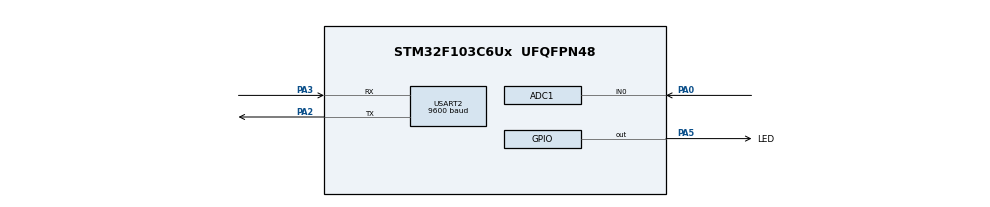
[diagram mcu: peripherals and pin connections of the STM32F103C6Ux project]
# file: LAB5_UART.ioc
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ADC1.Channel-0\#ChannelRegularConversion=ADC_CHANNEL_0
ADC1.ContinuousConvMode=ENABLE
ADC1.NbrOfConversionFlag=1
ADC1.Rank-0\#ChannelRegularConversion=1
ADC1.SamplingTime-0\#ChannelRegularConversion=ADC_SAMPLETIME_1CYCLE_5
ADC1.master=1
Mcu.Family=STM32F1
Mcu.Name=STM32F103C6Ux
Mcu.Package=UFQFPN48
NVIC.PriorityGroup=NVIC_PRIORITYGROUP_4
NVIC.TIM2_IRQn=true\:0\:0\:false\:false\:true\:true\:true
NVIC.USART2_IRQn=true\:0\:0\:false\:false\:true\:true\:true
PA0-WKUP.Signal=ADCx_IN0
PA2.Mode=Asynchronous
PA2.Signal=USART2_TX
PA3.Mode=Asynchronous
PA3.Signal=USART2_RX
PA5.GPIO_Label=LED
PA5.Signal=GPIO_Output
ProjectManager.HeapSize=0x200
ProjectManager.StackSize=0x400
ProjectManager.TargetToolchain=STM32CubeIDE
RCC.APB1Freq_Value=8000000
RCC.APB2Freq_Value=8000000
SH.ADCx_IN0.0=ADC1_IN0,IN0
TIM2.Period=9
TIM2.Prescaler=7999
USART2.BaudRate=9600
USART2.VirtualMode=VM_ASYNC
VP_SYS_VS_ND.Mode=No_Debug
VP_TIM2_VS_ClockSourceINT.Mode=Internal
board=custom

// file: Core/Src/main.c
/* USER CODE BEGIN Header */
/**
  ******************************************************************************
  * @file           : main.c
  * @brief          : Main program body
  ******************************************************************************
  * @attention
  *
  * <h2><center>&copy; Copyright (c) 2023 STMicroelectronics.
  * All rights reserved.</center></h2>
  *
  * This software component is licensed by ST under BSD 3-Clause license,
  * the "License"; You may not use this file except in compliance with the
  * License. You may obtain a copy of the License at:
  *                        opensource.org/licenses/BSD-3-Clause
  *
  ******************************************************************************
  */
/* USER CODE END Header */
#include "main.h"

ADC_HandleTypeDef hadc1;

TIM_HandleTypeDef htim2;

UART_HandleTypeDef huart2;

void SystemClock_Config(void);
static void MX_GPIO_Init(void);
static void MX_ADC1_Init(void);
static void MX_TIM2_Init(void);
static void MX_USART2_UART_Init(void);

int main(void)
{

  /* MCU Configuration--------------------------------------------------------*/

  /* Reset of all peripherals, Initializes the Flash interface and the Systick. */
  HAL_Init();

  /* Configure the system clock */
  SystemClock_Config();

  /* Initialize all configured peripherals */
  MX_GPIO_Init();
  MX_ADC1_Init();
  MX_TIM2_Init();
  MX_USART2_UART_Init();
  /* USER CODE BEGIN 2 */
  HAL_TIM_Base_Start_IT(&htim2);
  HAL_ADC_Start(&hadc1);
  HAL_UART_Receive_IT(&huart2, &temp, 1);

  /* USER CODE END 2 */

  /* Infinite loop */
  /* USER CODE BEGIN WHILE */
  while (1)
  {
	led_blinky_fsm();
	if(buffer_flag == 1 || timer3_flag == 1) {
		if(buffer_flag == 1) {
			buffer_flag = 0;
		}
		command_parser_fsm();
	}
	uart_communication_fsm();
    /* USER CODE END WHILE */

  }
}

void SystemClock_Config(void)
{
  RCC_OscInitTypeDef RCC_OscInitStruct = {0};
  RCC_ClkInitTypeDef RCC_ClkInitStruct = {0};
  RCC_PeriphCLKInitTypeDef PeriphClkInit = {0};

  /** Initializes the RCC Oscillators according to the specified parameters
  * in the RCC_OscInitTypeDef structure.
  */
  RCC_OscInitStruct.OscillatorType = RCC_OSCILLATORTYPE_HSI;
  RCC_OscInitStruct.HSIState = RCC_HSI_ON;
  RCC_OscInitStruct.HSICalibrationValue = RCC_HSICALIBRATION_DEFAULT;
  RCC_OscInitStruct.PLL.PLLState = RCC_PLL_NONE;
  if (HAL_RCC_OscConfig(&RCC_OscInitStruct) != HAL_OK)
  {
    Error_Handler();
  }
  /** Initializes the CPU, AHB and APB buses clocks
  */
  RCC_ClkInitStruct.ClockType = RCC_CLOCKTYPE_HCLK|RCC_CLOCKTYPE_SYSCLK
                              |RCC_CLOCKTYPE_PCLK1|RCC_CLOCKTYPE_PCLK2;
  RCC_ClkInitStruct.SYSCLKSource = RCC_SYSCLKSOURCE_HSI;
  RCC_ClkInitStruct.AHBCLKDivider = RCC_SYSCLK_DIV1;
  RCC_ClkInitStruct.APB1CLKDivider = RCC_HCLK_DIV1;
  RCC_ClkInitStruct.APB2CLKDivider = RCC_HCLK_DIV1;

  if (HAL_RCC_ClockConfig(&RCC_ClkInitStruct, FLASH_LATENCY_0) != HAL_OK)
  {
    Error_Handler();
  }
  PeriphClkInit.PeriphClockSelection = RCC_PERIPHCLK_ADC;
  PeriphClkInit.AdcClockSelection = RCC_ADCPCLK2_DIV2;
  if (HAL_RCCEx_PeriphCLKConfig(&PeriphClkInit) != HAL_OK)
  {
    Error_Handler();
  }
}

static void MX_ADC1_Init(void)
{

  ADC_ChannelConfTypeDef sConfig = {0};

  /** Common config
  */
  hadc1.Instance = ADC1;
  hadc1.Init.ScanConvMode = ADC_SCAN_DISABLE;
  hadc1.Init.ContinuousConvMode = ENABLE;
  hadc1.Init.DiscontinuousConvMode = DISABLE;
  hadc1.Init.ExternalTrigConv = ADC_SOFTWARE_START;
  hadc1.Init.DataAlign = ADC_DATAALIGN_RIGHT;
  hadc1.Init.NbrOfConversion = 1;
  if (HAL_ADC_Init(&hadc1) != HAL_OK)
  {
    Error_Handler();
  }
  /** Configure Regular Channel
  */
  sConfig.Channel = ADC_CHANNEL_0;
  sConfig.Rank = ADC_REGULAR_RANK_1;
  sConfig.SamplingTime = ADC_SAMPLETIME_1CYCLE_5;
  if (HAL_ADC_ConfigChannel(&hadc1, &sConfig) != HAL_OK)
  {
    Error_Handler();
  }

}

static void MX_TIM2_Init(void)
{

  TIM_ClockConfigTypeDef sClockSourceConfig = {0};
  TIM_MasterConfigTypeDef sMasterConfig = {0};

  htim2.Instance = TIM2;
  htim2.Init.Prescaler = 7999;
  htim2.Init.CounterMode = TIM_COUNTERMODE_UP;
  htim2.Init.Period = 9;
  htim2.Init.ClockDivision = TIM_CLOCKDIVISION_DIV1;
  htim2.Init.AutoReloadPreload = TIM_AUTORELOAD_PRELOAD_DISABLE;
  if (HAL_TIM_Base_Init(&htim2) != HAL_OK)
  {
    Error_Handler();
  }
  sClockSourceConfig.ClockSource = TIM_CLOCKSOURCE_INTERNAL;
  if (HAL_TIM_ConfigClockSource(&htim2, &sClockSourceConfig) != HAL_OK)
  {
    Error_Handler();
  }
  sMasterConfig.MasterOutputTrigger = TIM_TRGO_RESET;
  sMasterConfig.MasterSlaveMode = TIM_MASTERSLAVEMODE_DISABLE;
  if (HAL_TIMEx_MasterConfigSynchronization(&htim2, &sMasterConfig) != HAL_OK)
  {
    Error_Handler();
  }

}

static void MX_USART2_UART_Init(void)
{

  huart2.Instance = USART2;
  huart2.Init.BaudRate = 9600;
  huart2.Init.WordLength = UART_WORDLENGTH_8B;
  huart2.Init.StopBits = UART_STOPBITS_1;
  huart2.Init.Parity = UART_PARITY_NONE;
  huart2.Init.Mode = UART_MODE_TX_RX;
  huart2.Init.HwFlowCtl = UART_HWCONTROL_NONE;
  huart2.Init.OverSampling = UART_OVERSAMPLING_16;
  if (HAL_UART_Init(&huart2) != HAL_OK)
  {
    Error_Handler();
  }

}

static void MX_GPIO_Init(void)
{
  GPIO_InitTypeDef GPIO_InitStruct = {0};

  /* GPIO Ports Clock Enable */
  __HAL_RCC_GPIOA_CLK_ENABLE();

  /*Configure GPIO pin Output Level */
  HAL_GPIO_WritePin(LED_GPIO_Port, LED_Pin, GPIO_PIN_RESET);

  /*Configure GPIO pin : LED_Pin */
  GPIO_InitStruct.Pin = LED_Pin;
  GPIO_InitStruct.Mode = GPIO_MODE_OUTPUT_PP;
  GPIO_InitStruct.Pull = GPIO_NOPULL;
  GPIO_InitStruct.Speed = GPIO_SPEED_FREQ_LOW;
  HAL_GPIO_Init(LED_GPIO_Port, &GPIO_InitStruct);

}

/* USER CODE BEGIN 4 */
void HAL_TIM_PeriodElapsedCallback(TIM_HandleTypeDef* htim) {
    timerRun();
}

void HAL_UART_RxCpltCallback(UART_HandleTypeDef * huart) {
	if(huart->Instance == USART2) {
		updateBuffer(temp);
		buffer_flag = 1;
		HAL_UART_Transmit(&huart2 , &temp ,1 ,50);
		HAL_UART_Receive_IT(&huart2 , &temp ,1);
	}
}

/* USER CODE END 4 */

void Error_Handler(void)
{
  __disable_irq();
  while (1)
  {
  }
}

/************************ (C) COPYRIGHT STMicroelectronics *****END OF FILE****/
